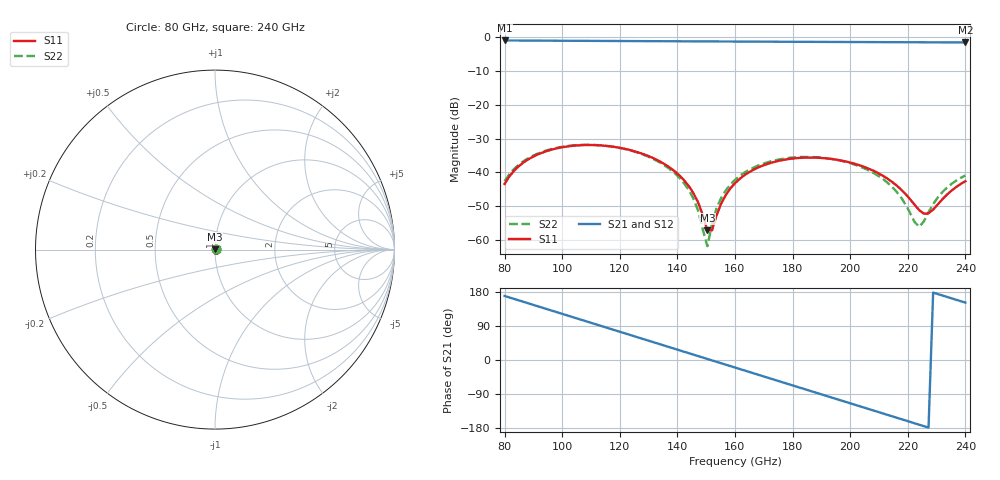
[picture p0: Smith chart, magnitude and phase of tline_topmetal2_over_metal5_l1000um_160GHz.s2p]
#  GHZ S DB R 50
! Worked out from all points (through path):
!   101 points, 80 GHz to 240 GHz, reference 50 ohm
!   highest |S21| = -0.94 dB at 80 GHz (marker M1); lowest = -1.5 dB at 240 GHz (marker M2)
!   group delay of S21, straight-line fit = 6.55 ps
!   lowest |S11| = -57.2 dB at 150.4 GHz (marker M3), VSWR 1.00, Z = 49.9 + j0.0713 ohm
!   |S11| at or under -10 dB: start of sweep to end of sweep
!   |S22| runs from -61.9 to -31.9 dB; largest |S21 - S12| = 9.8e-14
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80  -43.47 9.8  -0.94 169.0  -0.94 169.0  -42.62 8.2
84.8  -38.30 1.6  -0.96 157.7  -0.96 157.7  -37.85 0.6
89.6  -35.51 -8.6  -0.98 146.3  -0.98 146.3  -35.21 -9.3
99.2  -32.73 -30.4  -1.02 123.7  -1.02 123.7  -32.57 -30.7
107.2  -31.96 -49.2  -1.06 104.8  -1.06 104.8  -31.88 -49.3
120  -32.76 -79.9  -1.11 74.6  -1.11 74.6  -32.81 -79.6
134.4  -37.02 -116.3  -1.16 40.6  -1.16 40.6  -37.36 -115.1
144  -44.14 -145.7  -1.20 17.9  -1.20 17.9  -45.32 -143.1
147.2  -48.95 -162.0  -1.21 10.3  -1.21 10.3  -51.41 -159.4
150.4  -57.23 148.7  -1.23 2.8  -1.23 2.8  -61.90 107.8
152  -57.23 87.4  -1.23 -1.0  -1.23 -1.0  -55.39 53.6
153.6  -52.77 53.9  -1.24 -4.8  -1.24 -4.8  -50.68 37.8
156.8  -46.73 29.6  -1.25 -12.3  -1.25 -12.3  -45.37 22.9
160  -43.24 16.6  -1.26 -19.9  -1.26 -19.9  -42.26 12.6
171.2  -37.55 -15.9  -1.30 -46.3  -1.30 -46.3  -37.07 -17.4
187.2  -35.66 -57.8  -1.36 -84.0  -1.36 -84.0  -35.50 -57.8
203.2  -37.92 -101.3  -1.41 -121.8  -1.41 -121.8  -38.24 -99.7
214.4  -42.76 -138.2  -1.45 -148.2  -1.45 -148.2  -44.21 -135.0
224  -51.26 155.1  -1.48 -170.8  -1.48 -170.8  -56.15 123.5
227.2  -52.18 105.8  -1.49 -178.4  -1.49 -178.4  -51.84 65.1
232  -48.02 53.1  -1.50 170.3  -1.50 170.3  -45.89 33.3
240  -42.66 13.7  -1.53 151.4  -1.53 151.4  -40.95 4.9
